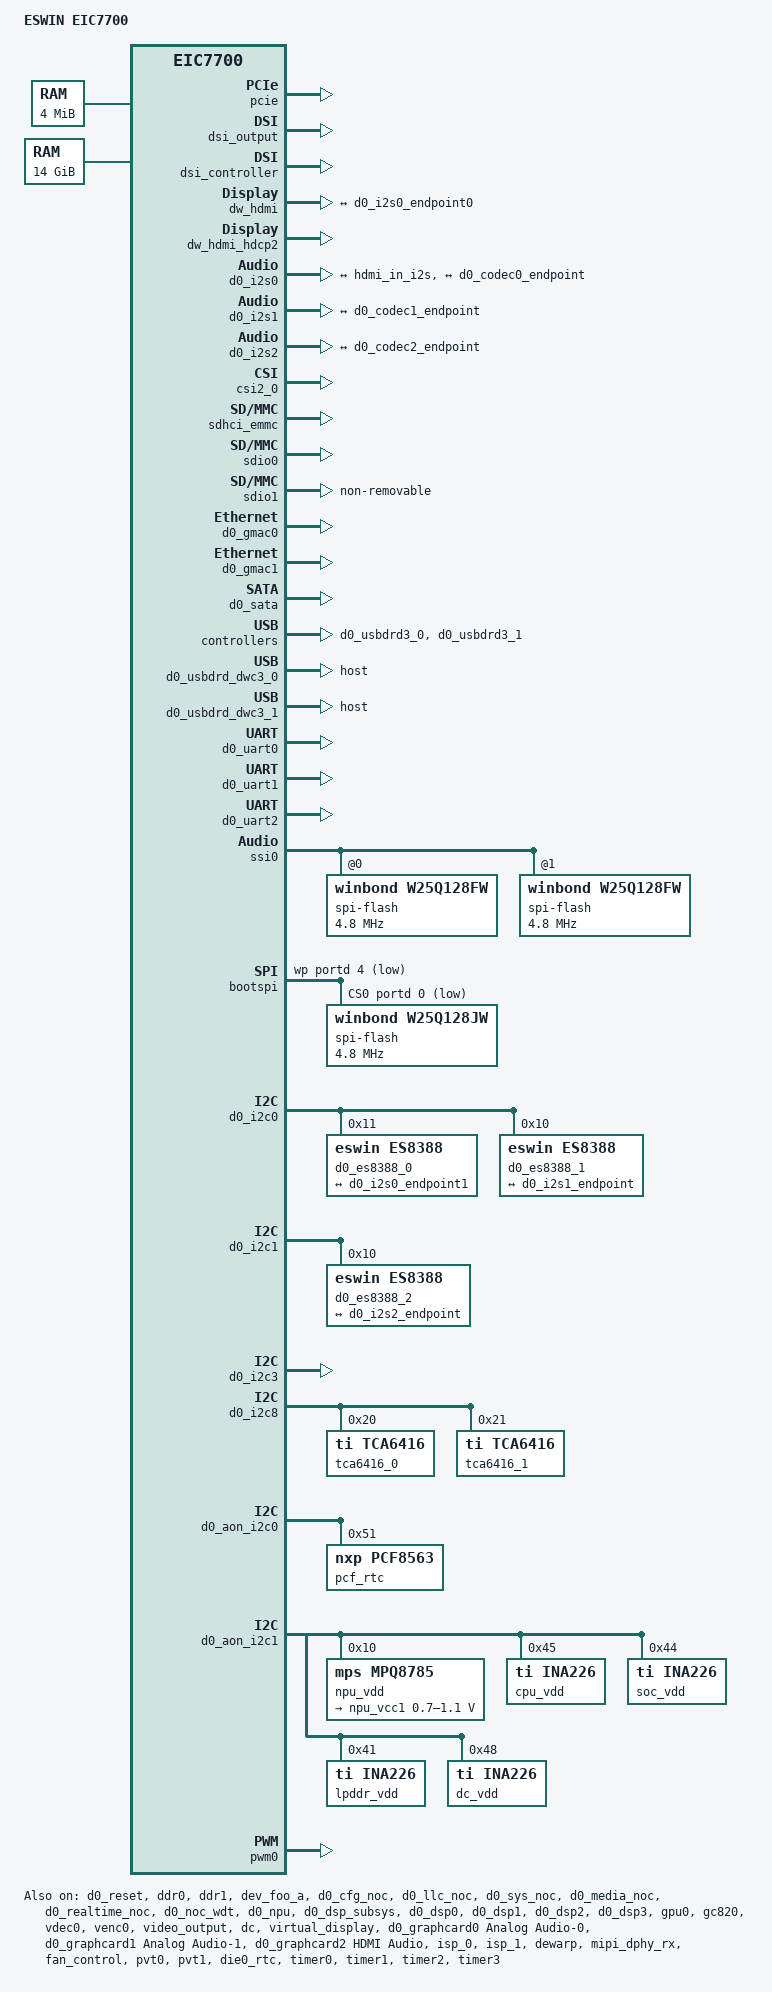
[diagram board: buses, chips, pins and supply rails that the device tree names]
// SPDX-License-Identifier: GPL-2.0
/*
 * Device Tree file for Eswin EIC7700 SoC.
 *
 * Copyright 2024, Beijing ESWIN Computing Technology Co., Ltd.. All rights reserved.
 * SPDX-License-Identifier: GPL-2.0
 *
 * This program is free software: you can redistribute it and/or modify
 * it under the terms of the GNU General Public License as published by
 * the Free Software Foundation, version 2.
 *
 * This program is distributed in the hope that it will be useful,
 * but WITHOUT ANY WARRANTY; without even the implied warranty of
 * MERCHANTABILITY or FITNESS FOR A PARTICULAR PURPOSE.  See the
 * GNU General Public License for more details.
 *
 * You should have received a copy of the GNU General Public License
 * along with this program.  If not, see <https://www.gnu.org/licenses/>.
 */

/dts-v1/;

#define RTCCLK_FREQ		1000000
#define LSPCLK_FREQ		200000000

/* reserve 2GB space for ddr ecc */
#define MEMORY_SIZE_H		0x3
#define MEMORY_SIZE_L		0x80000000
#define CMA_SIZE		0x20000000

#include "eswin-win2030-die0-soc.dtsi"
#include "eic7700-pinctrl.dtsi"
#include <dt-bindings/interrupt-controller/irq.h>
#include <dt-bindings/gpio/gpio.h>

/* Clock frequency (in Hz) of the PCB crystal for rtcclk */

/ {
	#address-cells = <2>;
	#size-cells = <2>;
	model = "ESWIN EIC7700";
	compatible = "sifive,hifive-unmatched-a00", "sifive,fu740-c000",
		     "sifive,fu740", "eswin,eic7700";

	aliases {
		serial0 = &d0_uart0;
		ethernet0 = &d0_gmac0;
		ethernet1 = &d0_gmac1;
		rtc0 = &die0_rtc;
		rtc1 = &pcf_rtc;
	};

	chosen {
		stdout-path = "serial0:115200n8";
	};

	cpus {
		timebase-frequency = <RTCCLK_FREQ>;
	};

	memory@59000000 {
		device_type = "memory";
		reg = <0x0 0x59000000 0x0 0x400000>;
		numa-node-id = <0>;
	};

	memory@80000000 {
		device_type = "memory";
		reg = <0x0 0x80000000 MEMORY_SIZE_H MEMORY_SIZE_L>;
		numa-node-id = <0>;
	};

	reserved-memory {
		#address-cells = <2>;
		#size-cells = <2>;
		ranges;

		linux,cma {
			compatible = "shared-dma-pool";
			reusable;
			size = <0x0 CMA_SIZE>;
			alignment = <0x0 0x1000>;
			alloc-ranges = <0x0 0x80000000 MEMORY_SIZE_H MEMORY_SIZE_L>;
			linux,cma-default;
		};

		npu0_reserved: sprammemory@59000000 {
			no-map;
			reg = <0x0 0x59000000 0x0 0x400000>;
		};

		smpmemtest_rsv0@91200000 {
			reg = <0 0x91200000 0 0x2000000>;
			no-map;
		};

		lpcpu0_reserved: lpcpu@a0000000 {
			no-map;
			reg = <0x0 0xa0000000 0x0 0x100000>;
		};

		secure_memory_nid_0_part_0 {
			compatible = "eswin-reserve-memory";
			reg = <0x0 0xb0000000 0x0 0x8000000>;
			no-map;
		};

		secure_memory_nid_0_part_1 {
			compatible = "eswin-reserve-memory";
			reg = <0x0 (0xb0000000 + 0x8000000) 0x0 0x8000000>;
			no-map;
		};

		g2d_4GB_boundary_reserved_4k {
			no-map;
			reg = <0x0 0xfffff000 0x0 0x1000>;
		};

		mmz_nid_0_part_0 {
			compatible = "eswin-reserve-memory";
			reg = <0x1 0x40000000 0x2 0x80000000>;
			no-map;
		};

		mmz_nid_0_part_1 {
			compatible = "eswin-reserve-memory";
			reg = <0x3 0xc0000000 0x0 0x40000000>;
			no-map;
		};
	};

	soc {
		reset_test@1e00e000 {
			compatible	= "reset_test";
			resets = <&d0_reset SCPU_RST_CTRL SW_SCPU_BUS_RSTN>,
					 <&d0_reset SCPU_RST_CTRL SW_SCPU_CORE_RSTN>,
					 <&d0_reset SCPU_RST_CTRL SW_SCPU_DBG_RSTN>;
			reset-names = "bus", "core", "dbg";
		};
	};
};

&d0_clock {
	status = "okay";
};

&d0_reset {
	status = "okay";
};

&d0_pmu {
	status = "okay";
};

&ddr0 {
	status = "okay";
};

&ddr1 {
	status = "okay";
};

&smmu0 {
	status = "okay";
};

&smmu_pmu0 {
	status = "disabled";
};

&dev_foo_a {
	status = "okay";
};

&d0_cfg_noc {
	status = "okay";
};

&d0_llc_noc {
	status = "okay";
	stat,0 = "TracePort:ddr0_p0_req";
	stat,1 = "TracePort:ddr1_p0_req";
	//latency,0 = "TracePort:llcnoc_trans_probe";
	//pending,0 = "TracePort:llcnoc_trans_probe";
};

&d0_sys_noc {
	status = "okay";

	//eswin,DSPT-qos-owner;
	//eswin,NPU-qos-owner;
	//eswin,SPISLV_TBU3-qos-owner;

	stat,0 = "TracePort:ddr0_p1_req",
		 "InitFlow:mcput_snoc_mp/I/0";

	stat,1 = "TracePort:ddr0_p2_req",
		 "InitFlow:dspt_snoc/I/0",
		 "AddrBase:0x81000000", "AddrSize:0x30",
		 "Opcode:RdWrLockUrg", "Status:ReqRsp", "Length:0x8000", "Urgency:0x0";

	stat,2 = "TracePort:ddr1_p1_req",
		 "Status:Req", "AddrSize:0x28";

	stat,3 = "TracePort:ddr1_p2_req";

	latency,0 = "TracePort:sysnoc_trans_probe_0", "AddrSize:0x0";
	latency,1 = "TracePort:sysnoc_trans_probe_1","Mode:latency","AddrBase:0x82000000","AddrSize:0x28","Opcode:RdWr";
	//latency,2 = "TracePort:sysnoc_trans_probe_2";

	//pending,0 = "TracePort:sysnoc_trans_probe_0";
	//pending,1 = "TracePort:sysnoc_trans_probe_1","Mode:latency","AddrBase:0x82000000","AddrSize:0x0","Opcode:RdWr";
	pending,0 = "TracePort:sysnoc_trans_probe_2", "AddrSize:0x3";
};

&d0_media_noc {
	status = "okay";

	//eswin,GPU-qos-owner;
	//eswin,TBU2-qos-owner;
	//eswin,VC-qos-owner;

	stat,0 = "TracePort:ddr0_p3_req";
	stat,1 = "TracePort:ddr1_p3_req";
	//latency,0 = "TracePort:mnoc_trans_probe";
	//pending,0 = "TracePort:mnoc_trans_probe";
};

&d0_realtime_noc {
	status = "okay";

	//eswin,TBU0-qos-owner;
	//eswin,VO-qos-owner;

	stat,0 = "TracePort:ddr0_p4_req";
	stat,1 = "TracePort:ddr1_p4_req";
	//latency,0 = "TracePort:rnoc_trans_probe";
	//pending,0 = "TracePort:rnoc_trans_probe";
};

&d0_noc_wdt {
	status = "okay";
};

&d0_ipc_scpu {
	status = "okay";
};

&d0_lpcpu {
	status = "disabled";
};

&pcie {
	pinctrl-names = "default";
	pinctrl-0 = <&pinctrl_gpio106_default>;
	pci-socket-gpios = <&portd 10 GPIO_ACTIVE_LOW>;

	status = "okay";
};

&d0_npu{
	status = "okay";
};

&d0_dsp_subsys {
	status = "okay";
};

&d0_dsp0 {
	status = "okay";
};

&d0_dsp1 {
	status = "okay";
};

&d0_dsp2 {
	status = "okay";
};

&d0_dsp3 {
	status = "okay";
};

&gpu0 {
	status = "okay";
};

&gc820 {
	status = "okay";
};

&vdec0 {
	status = "okay";
};

&venc0 {
	status = "okay";
};

&video_output {
	status = "okay";
};

&dc {
	status = "okay";
};

&dc_test {
    status = "disabled";
};

&virtual_display {
    status = "okay";
};

&dsi_output {
    status = "okay";
};

&dsi_controller {
    status = "okay";
};

&dsi_panel {
	status = "okay";
	pinctrl-names = "default";
	pinctrl-0 = <&pinctrl_gpio7_default &pinctrl_gpio111_default>;
	backlight0-gpios = <&porta 7 GPIO_ACTIVE_HIGH>;
	rst-gpios = <&portd 15 GPIO_ACTIVE_HIGH>;
};

&dw_hdmi {
	status = "okay";
	ports {
		port@2 {
			reg = <2>;
			hdmi_in_i2s: endpoint@1 {
				system-clock-frequency = <12288000>;
				remote-endpoint = <&d0_i2s0_endpoint0>;
			};
		};
	};
};

&dw_hdmi_hdcp2 {
    status = "okay";
};

&d0_i2s0 {
	status = "okay";
	eswin-plat = <1>;
	ports {
		#address-cells = <1>;
		#size-cells = <0>;
		d0_i2s0_port0: port@0 {
			reg = <0>;
			d0_i2s0_endpoint0: endpoint {
				remote-endpoint = <&hdmi_in_i2s>;
				dai-format = "i2s";
			};
		};
		d0_i2s0_port1: port@1 {
			reg = <1>;
			d0_i2s0_endpoint1: endpoint {
				remote-endpoint = <&d0_codec0_endpoint>;
				dai-format = "i2s";
			};
		};
	};
};

&d0_i2s1 {
	status = "okay";
	eswin-plat = <1>;
	d0_i2s1_port: port {
		d0_i2s1_endpoint: endpoint {
			remote-endpoint = <&d0_codec1_endpoint>;
			dai-format = "i2s";
		};
	};
};

&d0_i2s2 {
	status = "okay";
	eswin-plat = <1>;
	d0_i2s2_port: port {
		d0_i2s2_endpoint: endpoint {
			remote-endpoint = <&d0_codec2_endpoint>;
			dai-format = "i2s";
		};
	};
};

&d0_graphcard0 {
	status = "okay";
	label = "Analog Audio-0";
	dais = <&d0_i2s1_port>;
};

&d0_graphcard1 {
	status = "okay";
	label = "Analog Audio-1";
	dais = <&d0_i2s2_port>;
};

&d0_graphcard2 {
	status = "okay";
	label = "HDMI Audio";
	dais = <&d0_i2s0_port0>, <&d0_i2s0_port1>;
};

&isp_0 {
	status = "okay";
};

&isp_1 {
	status = "okay";
};

&dewarp {
	status = "okay";
};

&mipi_dphy_rx {
	status = "okay";
};

&csi_dma0 {
	status = "okay";
};

&csi_dma1 {
	status = "disabled";
};

&csi2_0 {
	status = "okay";
};

&csi2_1 {
	status = "disabled";
};

&sdhci_emmc {
	/* emmc */
	status = "okay";
	delay_code = <0x17>;
	drive-impedance-ohm = <50>;
	enable-cmd-pullup;
	enable-data-pullup;
	no-sdio;
	no-sd;
};

&sdio0 {
	/* sd card */
	status = "okay";
	delay_code = <0x29>;
	drive-impedance-ohm = <33>;
	enable-cmd-pullup;
	enable-data-pullup;
	no-sdio;
	no-mmc;
};

&sdio1 {
	/* wifi module */
	status = "okay";
	delay_code = <0x29>;
	drive-impedance-ohm = <33>;
	enable-cmd-pullup;
	enable-data-pullup;
	non-removable;
	no-sd;
	no-mmc;
};

&d0_gmac0 {
	pinctrl-names = "default";
	pinctrl-0 = <&pinctrl_gpio94_default>;
	rst-gpios = <&portc 30 GPIO_ACTIVE_LOW>;
	eswin,rgmiisel = <&pinctrl 0x290 0x3>;
	eswin,led-cfgs = <0x6251 0x6251 0x6251>;

	status = "okay";
};

&d0_gmac1 {
	pinctrl-names = "default";
	pinctrl-0 = <&pinctrl_gpio16_default>;
	rst-gpios = <&porta 16 GPIO_ACTIVE_LOW>;
	eswin,rgmiisel = <&pinctrl 0x294 0x3>;
	eswin,led-cfgs = <0x6251 0x6251 0x6251>;

	status = "okay";
};

&d0_sata {
	status = "okay";
};

&d0_usbdrd3_0 {
	status = "okay";
};

&d0_usbdrd_dwc3_0 {
	status = "okay";
	dr_mode = "host";
	maximum-speed = "super-speed";
};

&d0_usbdrd3_1 {
	status = "okay";
};

&d0_usbdrd_dwc3_1 {
	status = "okay";
	dr_mode = "host";
	maximum-speed = "super-speed";
};

&d0_dmac0 {
	status = "okay";
};

&d0_aon_dmac {
	status = "okay";
};

&d0_uart0 {
	/* debug */
	status = "okay";
};

&d0_uart1 {
	/* have cts & rts */
	status = "okay";
};

&d0_uart2 {
	/* rs485 */
	status = "okay";
};

&d0_uart3 {
	status = "disabled";
};

&d0_uart4 {
	status = "disabled";
};

&ssi0 {
	/* spi flash */
	status = "okay";
	num-cs = <2>;
	spi-flash@0 {
		compatible = "winbond,w25q128fw",
					"jedec,spi-nor";
		reg = <0>;
		#address-cells = <1>;
		#size-cells = <1>;
		spi-max-frequency = <4800000>;
		rx-sample-delay-ns = <10>;
	};
	spi-flash@1 {
		compatible = "winbond,w25q128fw",
					"jedec,spi-nor";
		reg = <1>;
		#address-cells = <1>;
		#size-cells = <1>;
		spi-max-frequency = <4800000>;
		rx-sample-delay-ns = <10>;
	};
};

&ssi1 {
	/* spi flash */
	status = "disabled";
	pinctrl-names = "default";
	pinctrl-0 = <&pinctrl_spi2_default>;
	num-cs = <2>;
	spi-flash@0 {
		compatible = "winbond,w25q128fw",
					"jedec,spi-nor";
		reg = <0>;
		#address-cells = <1>;
		#size-cells = <1>;
		spi-max-frequency = <4800000>;
		rx-sample-delay-ns = <10>;
	};
	spi-flash@1 {
		compatible = "winbond,w25q128fw",
					"jedec,spi-nor";
		reg = <1>;
		#address-cells = <1>;
		#size-cells = <1>;
		spi-max-frequency = <4800000>;
		rx-sample-delay-ns = <10>;
	};
};

&bootspi {
	/* spi flash */
	status = "okay";
	num-cs = <1>;
	cs-gpios = <&portd 0 GPIO_ACTIVE_LOW>;
	wp-gpios = <&portd 4 GPIO_ACTIVE_LOW>;
	spi-flash@0 {
		compatible = "winbond,w25q128jw",
					"jedec,spi-nor";
		reg = <0>;
		#address-cells = <1>;
		#size-cells = <1>;
		spi-max-frequency = <4800000>;
		rx-sample-delay-ns = <10>;
	};
};

&d0_mbox0 {
	status = "okay";
};

&d0_mbox1 {
	status = "okay";
};

&d0_mbox2 {
	status = "okay";
};

&d0_mbox3 {
	status = "okay";
};

&d0_mbox4 {
	status = "okay";
};

&d0_mbox5 {
	status = "okay";
};

&d0_mbox6 {
	status = "okay";
};

&d0_mbox7 {
	status = "okay";
};

&fan_control {
	status = "okay";
};

&d0_i2c0 {
	/* codec es8388 */
	status = "okay";
	d0_es8388_0: es8388-0@11 {
		compatible = "eswin,es8388";
		reg = <0x11>;
		#sound-dai-cells = <0>;
		port {
			d0_codec0_endpoint: endpoint {
				system-clock-frequency = <12288000>;
				remote-endpoint = <&d0_i2s0_endpoint1>;
			};
		};
	};
	d0_es8388_1: es8388-1@10 {
		compatible = "eswin,es8388";
		reg = <0x10>;
		#sound-dai-cells = <0>;
		port {
			d0_codec1_endpoint: endpoint {
				system-clock-frequency = <12288000>;
				remote-endpoint = <&d0_i2s1_endpoint>;
			};
		};
	};
};

&d0_i2c1 {
	/* codec es8388 */
	status = "okay";
	d0_es8388_2: es8388-2@10 {
		compatible = "eswin,es8388";
		reg = <0x10>;
		#sound-dai-cells = <0>;
		port {
			d0_codec2_endpoint: endpoint {
				system-clock-frequency = <12288000>;
				remote-endpoint = <&d0_i2s2_endpoint>;
			};
		};
	};
};

&d0_i2c2 {
	/* mipi dsi */
	status = "disabled";
};

&d0_i2c3 {
	/* mipi csi0/csi1 */
	status = "okay";
};

&d0_i2c4 {
	/* mipi csi2/csi3 */
	status = "disabled";
};

&d0_i2c5 {
	/* mipi csi4/csi5 */
	status = "disabled";
};

&d0_i2c6 {
	/* unused */
	status = "disabled";
};

&d0_i2c7 {
	/* unused */
	status = "disabled";
};

&d0_i2c8 {
	/* io extended for mipi csi */
	status = "okay";
	tca6416_0: gpio@20 {
	compatible = "ti,tca6416";
		reg = <0x20>;
		gpio-controller; /* IRQ not connected */
		#gpio-cells = <2>;
		gpio-line-names = "MIPI_CSI0_PWDN", "MIPI_CSI0_RESET", "MIPI_CSI1_FBC", "MIPI_CSI1_ENB",
				"MIPI_CSI1_RESET", "MIPI_CSI1_PWDN", "FREX_GP0", "",
				"MIPI_CSI0_ENB", "MIPI_CSI0_FBC", "FREX_GP2", "MIPI_CSI2_FBC",
				"MIPI_CSI2_ENB", "FREX_GP1", "MIPI_CSI2_RESET", "MIPI_CSI2_PWDN";
	};
	tca6416_1: gpio@21 {
		compatible = "ti,tca6416";
		reg = <0x21>;
		gpio-controller;
		#gpio-cells = <2>;
		/* IRQ not connected */
		gpio-line-names = "MIPI_CSI3_PWDN", "MIPI_CSI3_RESET", "MIPI_CSI3_ENB", "MIPI_CSI3_FBC",
				"MIPI_CSI4_PWDN", "MIPI_CSI4_RESET", "MIPI_CSI4_ENB", "MIPI_CSI4_FBC",
				"MIPI_CSI5_FBC", "MIPI_CSI5_ENB", "MIPI_CSI5_RESET", "MIPI_CSI5_PWDN",
				"", "", "", "";
	};
};

&d0_i2c9 {
	/* unused */
	status = "disabled";
};

&d0_aon_i2c0 {
	/* temp sensor & rtc */
	status = "okay";
	eswin,syscfg = <&d0_sys_con 0x3C0 16>;
	pcf_rtc:rtc@51 {
		compatible = "nxp,pcf8563";
		reg = <0x51>;
	};
};

&d0_aon_i2c1 {
	/* mpq8785 & ina226x4 */
	status = "okay";
	i2c-sda-hold-time-ns = <0x40>;
	mpq8785@10 {
		compatible = "mps,mpq8785";
		reg = <0x10>;
		eswin,regulator_default-microvolt=<1000000>;
		eswin,regulator_label = "supply vdd1", "npu vdd1", "npu current1", "npu temperature1";
		label = "npu_vdd";
		regulators{
			npu_vcc1:npu_svcc{
				regulator-name="NPU_SVCC";
				regulator-min-microvolt=<700000>;
				regulator-max-microvolt=<1100000>;
				regulator-min-microamp=<20000000>;
				regulator-max-microamp=<40000000>;
				regulator-ov-protection-microvolt=<1100000>;
				regulator-always-on;
			};
		};
	};
	ina226@45 {
		compatible = "ti,ina226";
		#io-channel-cells = <1>;
		label = "cpu_vdd";
		reg = <0x45>;
		shunt-resistor = <1000>;
	};
	ina226@44 {
			compatible = "ti,ina226";
			#io-channel-cells = <1>;
			label = "soc_vdd";
			reg = <0x44>;
			shunt-resistor = <1000>;
		};
	ina226@41 {
			compatible = "ti,ina226";
			#io-channel-cells = <1>;
			label = "lpddr_vdd";
			reg = <0x41>;
			shunt-resistor = <1000>;
		};
	ina226@48 {
			compatible = "ti,ina226";
			#io-channel-cells = <1>;
			label = "dc_vdd";
			reg = <0x48>;
			shunt-resistor = <1000>;
		};
};

&pwm0 {
	/* fan */
	status = "okay";
};

&pvt0 {
	status = "okay";
};

&pvt1 {
	status = "okay";
};

&wdt0 {
	status = "disabled";
};

&wdt1 {
	status = "disabled";
};

&wdt2 {
	status = "disabled";
};

&wdt3 {
	status = "disabled";
};

&die0_rtc {
	status = "okay";
};

&timer0 {
	status = "okay";
};

&timer1 {
	status = "okay";
};

&timer2 {
	status = "okay";
};

&timer3 {
	status = "okay";
};

&pinctrl {
	status = "okay";
};

/*
	gpio function unused
	group A: gpio1~6,12~15, 17~27, 29~31
	group B: gpio32~63
	group C: gpio64~93, 95
	group D: gpio96~105

	gpio0   : head phone plug/unplug detection0(I)
	gpio7   : led back light power on/off(O)
	gpio8   : dsi touch interrupt(I)
	gpio9   : pcie present(I)
	gpio10  : software define key input(I)
	gpio11  : head phone plug/unplug detection2(I)
	gpio16  : gphy1 resern(O)
	gpio28  : head phone plug/unplug detection1(I)
	gpio94  : gphy0 resern(O)
	gpio106 : pcie socket power on/off(O)
	gpio107 : tf card power on/off(O)
	gpio108 : system led0(O)
	gpio109 : system led1(O)
	gpio110 : system led2(O)
	gpio111 : mipi dsi resetn(O)
*/

&gpio0 {
	status = "okay";
};
&dev_llc_d0{
	apply_npu_high_freq;
};
